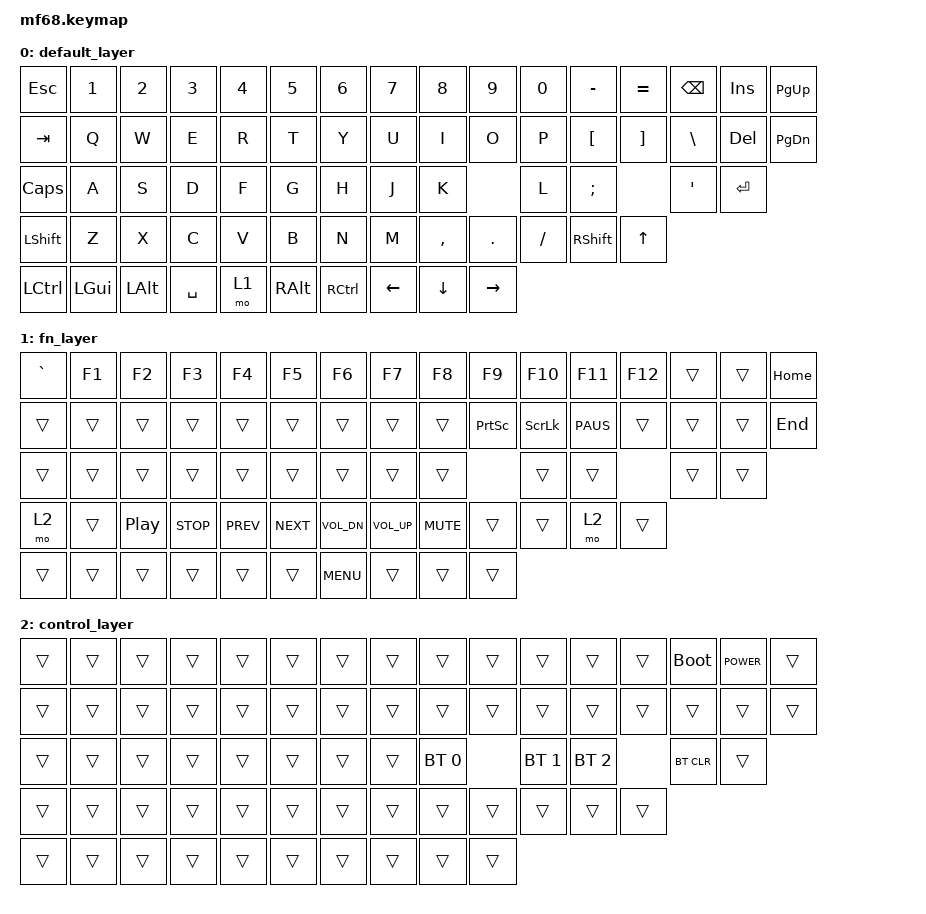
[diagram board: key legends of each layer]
#include <behaviors.dtsi>
#include <dt-bindings/zmk/keys.h>
#include <dt-bindings/zmk/bt.h>
#include <dt-bindings/zmk/ext_power.h>

/ {
  keymap0: keymap {
    compatible = "zmk,keymap";
    
    default_layer {
      // --------------------------------------------------------------------------------------------------------------
      // | ESC |  1  |  2  |  3  |  4  |  5  |  6  |  7  |  8  |  9  |  0  |  -  |  =  |   BKSP   | |  INS  |  PG_UP  |
      // | TAB  |  Q  |  W  |  E  |  R  |  T  |  Y  |  U  |  I  |  O  |  P  |  [  |  ]  |    \    | |  DEL  |  PG_DN  |
      // | CAPS  |  A  |  S  |  D  |  F  |  G  |  H  |  J  |  K  |  L  |  ;  |  '  |     ENTER    |
      // |  SHIFT  |  Z  |  X  |  C  |  V  |  B  |  N  |  M  |  ,  |  .  |  /  |      SHIFT       | |  UP  |
      // |  CTL  |  WIN  |  ALT  |            SPACE               | MO(1) |  ALT  | CTRL |   | LEFT | DOWN | RIGHT | 
      // --------------------------------------------------------------------------------------------------------------
      bindings = <
        &kp ESC  &kp N1  &kp N2  &kp N3  &kp N4  &kp N5  &kp N6  &kp N7  &kp N8  &kp N9  &kp N0  &kp MINUS  &kp EQUAL  &kp BSPC  &kp INS  &kp PG_UP
        &kp TAB  &kp Q  &kp W  &kp E  &kp R  &kp T  &kp Y  &kp U  &kp I  &kp O  &kp P  &kp LBKT  &kp RBKT  &kp BSLH  &kp DEL  &kp PG_DN
        &kp CLCK  &kp A  &kp S  &kp D  &kp F  &kp G  &kp H  &kp J  &kp K  &kp L  &kp SEMI  &kp SQT  &kp RET
        &kp LSHFT  &kp Z  &kp X  &kp C  &kp V  &kp B  &kp N  &kp M  &kp COMMA  &kp DOT  &kp FSLH  &kp RSHFT  &kp UP
        &kp LCTRL  &kp LGUI  &kp LALT  &kp SPACE  &mo 1  &kp RALT  &kp RCTRL  &kp LEFT  &kp DOWN  &kp RIGHT
      >;
    };

    fn_layer {
      bindings = <
        &kp GRAVE  &kp F1  &kp F2  &kp F3  &kp F4  &kp F5  &kp F6  &kp F7  &kp F8  &kp F9  &kp F10  &kp F11  &kp F12  &trans  &trans  &kp HOME
        &trans  &trans  &trans  &trans  &trans  &trans  &trans  &trans  &trans  &kp PSCRN  &kp SLCK  &kp PAUS  &trans  &trans  &trans  &kp END
        &trans  &trans  &trans  &trans  &trans  &trans  &trans  &trans  &trans  &trans  &trans  &trans  &trans
        &mo 2  &trans  &kp C_PP  &kp C_STOP  &kp C_PREV  &kp C_NEXT  &kp C_VOL_DN  &kp C_VOL_UP  &kp C_MUTE  &trans  &trans  &mo 2  &trans
        &trans  &trans  &trans  &trans  &trans  &trans  &kp K_MENU  &trans  &trans  &trans
      >;
    };
    
    control_layer {
      bindings = <
        &trans  &trans  &trans  &trans  &trans  &trans  &trans  &trans  &trans  &trans  &trans  &trans  &trans  &bootloader  &kp K_POWER  &trans
        &trans  &trans  &trans  &trans  &trans  &trans  &trans  &trans  &trans  &trans  &trans  &trans  &trans  &trans  &trans  &trans
        &trans  &trans  &trans  &trans  &trans  &trans  &trans  &trans  &bt BT_SEL 0  &bt BT_SEL 1  &bt BT_SEL 2  &bt BT_CLR  &trans
        &trans  &trans  &trans  &trans  &trans  &trans  &trans  &trans  &trans  &trans  &trans  &trans  &trans
        &trans  &trans  &trans  &trans  &trans  &trans  &trans  &trans  &trans  &trans
      >;
    };
  };
};
